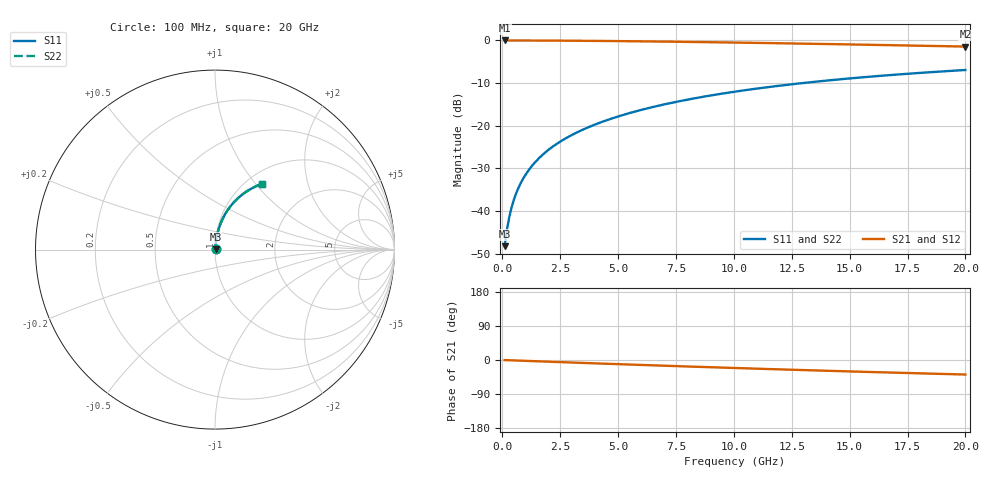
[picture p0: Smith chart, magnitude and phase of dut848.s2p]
! Touchstone file exported from HFSS 2024.1.0
!  File:  C:/UserFiles/LocalFiles/RDL_TSV_Batchsim/temp_RDL_bottom_848_1779864006.aedt
!  Generated:  02:42:49 PM May 27, 2026
!  Design:  RDL_bottom
!  Project:  temp_RDL_bottom_848_1779864006
!  Setup:  Setup1
!  Solution:  Sweep
! Variables:
!  dtsv = 10.80580581um
!  hbump = 3um
!  htsv = 97.14um
!  ldown = 466.9um
!  lrdl = 100um
!  p = 40
!  p1 = 56.59um
!  rhole = 1um
!  t = 450um
!  tdown = 4.95um
!  trdl = 3.915915916um
!  wdown = 12.07um
!  wrdl = 20um
# GHz S MA R 50.000000
! Terminal data exported
! Port[1] = RDL1_T1
! Port[2] = RDL1_T2
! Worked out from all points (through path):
!   200 points, 100 MHz to 20 GHz, reference 50 ohm
!   highest |S21| = -0.02 dB at 100 MHz (marker M1); lowest = -1.5 dB at 20 GHz (marker M2)
!   group delay of S21, straight-line fit = 5.32 ps
!   lowest |S11| = -48.2 dB at 100 MHz (marker M3), VSWR 1.01, Z = 50.3 + j0.268 ohm
!   |S11| at or under -10 dB: start of sweep to 12.97 GHz
!   |S22| runs from -48.2 to -6.9 dB; largest |S21 - S12| = 2.5e-15
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0.1  0.003894 43.3  0.9972 -0.2  0.9972 -0.2  0.003894 43.3
! Gamma 0 0 0 0
! Port Impedance 50 0 50 0
0.2  0.006053 61.8  0.9971 -0.5  0.9971 -0.5  0.006053 61.8
0.3  0.008503 70.1  0.997 -0.7  0.997 -0.7  0.008503 70.1
0.4  0.01105 74.4  0.9969 -0.9  0.9969 -0.9  0.01105 74.4
0.5  0.01363 77.1  0.9968 -1.1  0.9968 -1.1  0.01363 77.1
0.6  0.01622 78.8  0.9967 -1.4  0.9967 -1.4  0.01622 78.8
0.8  0.02142 80.8  0.9964 -1.8  0.9964 -1.8  0.02142 80.8
1.1  0.02921 82.1  0.9959 -2.5  0.9959 -2.5  0.02921 82.1
1.5  0.03955 82.7  0.9951 -3.4  0.9951 -3.4  0.03955 82.7
1.8  0.04727 82.8  0.9944 -4.0  0.9944 -4.0  0.04727 82.8
2.1  0.05496 82.7  0.9936 -4.7  0.9936 -4.7  0.05496 82.7
2.7  0.07029 82.2  0.9916 -6.0  0.9916 -6.0  0.07029 82.2
3.5  0.09062 81.3  0.9882 -7.8  0.9882 -7.8  0.09062 81.3
4.2  0.1083 80.3  0.9848 -9.3  0.9848 -9.3  0.1083 80.3
5  0.1284 79.1  0.9803 -11.0  0.9803 -11.0  0.1284 79.1
5.9  0.1509 77.7  0.9746 -12.9  0.9746 -12.9  0.1509 77.7
6.8  0.1731 76.3  0.9684 -14.7  0.9684 -14.7  0.1731 76.3
8.3  0.2096 73.8  0.957 -17.7  0.957 -17.7  0.2096 73.8
10.1  0.252 70.7  0.942 -21.2  0.942 -21.2  0.252 70.7
13.4  0.3253 65.0  0.9116 -27.3  0.9116 -27.3  0.3253 65.0
16.7  0.3914 59.6  0.8791 -33.1  0.8791 -33.1  0.3914 59.6
20  0.4497 54.4  0.8457 -38.4  0.8457 -38.4  0.4497 54.4
